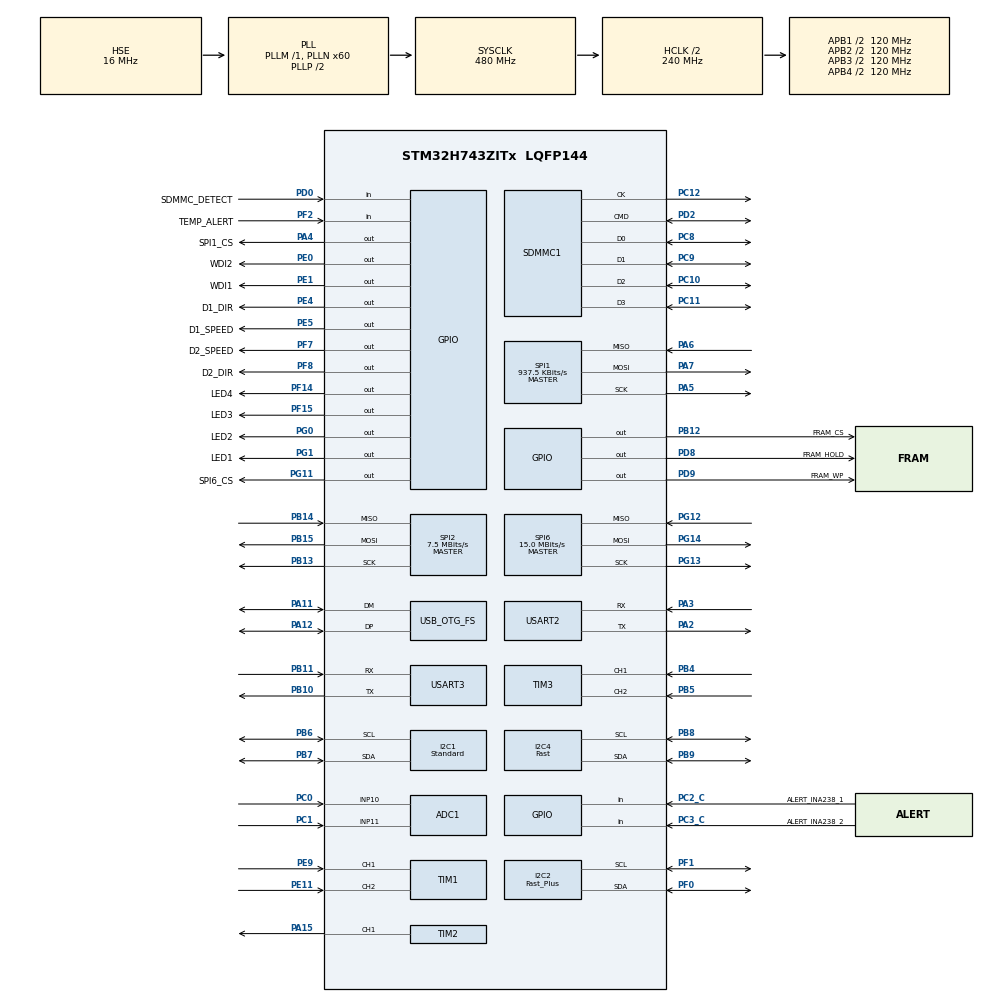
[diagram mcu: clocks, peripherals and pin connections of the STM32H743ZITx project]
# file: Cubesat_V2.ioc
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ADC1.Channel-4\#ChannelRegularConversion=ADC_CHANNEL_10
ADC1.ContinuousConvMode=ENABLE
ADC1.ConversionDataManagement=ADC_CONVERSIONDATA_DMA_CIRCULAR
ADC1.ExternalTrigConv=ADC_EXTERNALTRIG_T1_CC1
ADC1.NbrOfConversion=1
ADC1.NbrOfConversionFlag=1
ADC1.OffsetNumber-4\#ChannelRegularConversion=ADC_OFFSET_NONE
ADC1.OffsetSignedSaturation-4\#ChannelRegularConversion=DISABLE
ADC1.Rank-4\#ChannelRegularConversion=1
ADC1.SamplingTime-4\#ChannelRegularConversion=ADC_SAMPLETIME_32CYCLES_5
ADC1.master=1
CORTEX_M7.CPU_DCache=Disabled
CRC.CRCLength=CRC_POLYLENGTH_8B
CRC.DefaultInitValueUse=DEFAULT_INIT_VALUE_DISABLE
CRC.DefaultPolynomialUse=DEFAULT_POLYNOMIAL_DISABLE
CRC.GeneratingPolynomial=X4+X3+X2+X0
CRC.InitValue=0xC4
Dma.ADC1.1.Direction=DMA_PERIPH_TO_MEMORY
Dma.ADC1.1.EventEnable=DISABLE
Dma.ADC1.1.FIFOMode=DMA_FIFOMODE_DISABLE
Dma.ADC1.1.Instance=DMA1_Stream1
Dma.ADC1.1.MemDataAlignment=DMA_MDATAALIGN_HALFWORD
Dma.ADC1.1.MemInc=DMA_MINC_ENABLE
Dma.ADC1.1.Mode=DMA_CIRCULAR
Dma.ADC1.1.PeriphDataAlignment=DMA_PDATAALIGN_HALFWORD
Dma.ADC1.1.PeriphInc=DMA_PINC_DISABLE
Dma.ADC1.1.Polarity=HAL_DMAMUX_REQ_GEN_RISING
Dma.ADC1.1.Priority=DMA_PRIORITY_LOW
Dma.ADC1.1.RequestNumber=1
Dma.ADC1.1.SignalID=NONE
Dma.ADC1.1.SyncEnable=DISABLE
Dma.ADC1.1.SyncPolarity=HAL_DMAMUX_SYNC_NO_EVENT
Dma.ADC1.1.SyncRequestNumber=1
Dma.ADC1.1.SyncSignalID=NONE
Dma.Request0=TIM2_CH1
Dma.Request1=ADC1
Dma.TIM2_CH1.0.Direction=DMA_MEMORY_TO_PERIPH
Dma.TIM2_CH1.0.EventEnable=DISABLE
Dma.TIM2_CH1.0.FIFOMode=DMA_FIFOMODE_DISABLE
Dma.TIM2_CH1.0.Instance=DMA1_Stream0
Dma.TIM2_CH1.0.MemDataAlignment=DMA_MDATAALIGN_HALFWORD
Dma.TIM2_CH1.0.MemInc=DMA_MINC_ENABLE
Dma.TIM2_CH1.0.Mode=DMA_NORMAL
Dma.TIM2_CH1.0.PeriphDataAlignment=DMA_PDATAALIGN_HALFWORD
Dma.TIM2_CH1.0.PeriphInc=DMA_PINC_DISABLE
Dma.TIM2_CH1.0.Polarity=HAL_DMAMUX_REQ_GEN_RISING
Dma.TIM2_CH1.0.Priority=DMA_PRIORITY_LOW
Dma.TIM2_CH1.0.RequestNumber=1
Dma.TIM2_CH1.0.SignalID=NONE
Dma.TIM2_CH1.0.SyncEnable=DISABLE
Dma.TIM2_CH1.0.SyncPolarity=HAL_DMAMUX_SYNC_NO_EVENT
Dma.TIM2_CH1.0.SyncRequestNumber=1
Dma.TIM2_CH1.0.SyncSignalID=NONE
FATFS.BSP.number=1
FATFS.USE_DMA_CODE_SD=1
FATFS0.BSP.STBoard=false
FATFS0.BSP.api=Unknown
FATFS0.BSP.i2caddr=0
FATFS0.BSP.instance=PD0
FATFS0.BSP.ip=GPIO
FATFS0.BSP.mode=Input
FATFS0.BSP.name=Detect_SDIO
FATFS0.BSP.solution=PD0
I2C1.I2C_Speed_Mode=I2C_Standard
I2C1.Speed=10
I2C1.Timing=0x00000000
I2C2.I2C_Speed_Mode=I2C_Fast_Plus
I2C2.Timing=0x0050174F
I2C4.I2C_Speed_Mode=I2C_Fast
I2C4.Speed=400
I2C4.Timing=0x00B03FDB
Mcu.Family=STM32H7
Mcu.Name=STM32H743ZITx
Mcu.Package=LQFP144
NVIC.DMA1_Stream0_IRQn=true\:0\:0\:false\:false\:true\:false\:true\:true
NVIC.DMA1_Stream1_IRQn=true\:0\:0\:false\:false\:true\:false\:true\:true
NVIC.OTG_FS_IRQn=true\:0\:0\:false\:false\:true\:false\:true\:true
NVIC.PriorityGroup=NVIC_PRIORITYGROUP_4
NVIC.SDMMC1_IRQn=true\:0\:0\:false\:false\:true\:true\:true\:true
NVIC.TIM7_IRQn=true\:0\:0\:false\:false\:true\:true\:true\:true
PA11.Mode=Device_Only
PA11.Signal=USB_OTG_FS_DM
PA12.Mode=Device_Only
PA12.Signal=USB_OTG_FS_DP
PA13\ (JTMS/SWDIO).Mode=Serial_Wire
PA13\ (JTMS/SWDIO).Signal=DEBUG_JTMS-SWDIO
PA14\ (JTCK/SWCLK).Mode=Serial_Wire
PA14\ (JTCK/SWCLK).Signal=DEBUG_JTCK-SWCLK
PA15\ (JTDI).Signal=S_TIM2_CH1_ETR
PA2.Mode=Asynchronous
PA2.Signal=USART2_TX
PA3.Mode=Asynchronous
PA3.Signal=USART2_RX
PA4.GPIO_Label=SPI1_CS
PA4.Signal=GPIO_Output
PA5.Mode=Full_Duplex_Master
PA5.Signal=SPI1_SCK
PA6.Mode=Full_Duplex_Master
PA6.Signal=SPI1_MISO
PA7.Mode=Full_Duplex_Master
PA7.Signal=SPI1_MOSI
PB10.Mode=Asynchronous
PB10.Signal=USART3_TX
PB11.Mode=Asynchronous
PB11.Signal=USART3_RX
PB12.GPIO_Label=FRAM_CS
PB12.Signal=GPIO_Output
PB13.Mode=Full_Duplex_Master
PB13.Signal=SPI2_SCK
PB14.Mode=Full_Duplex_Master
PB14.Signal=SPI2_MISO
PB15.Mode=Full_Duplex_Master
PB15.Signal=SPI2_MOSI
PB4\ (NJTRST).Signal=S_TIM3_CH1
PB5.Signal=S_TIM3_CH2
PB6.Mode=I2C
PB6.Signal=I2C1_SCL
PB7.Mode=I2C
PB7.Signal=I2C1_SDA
PB8.Mode=I2C
PB8.Signal=I2C4_SCL
PB9.Mode=I2C
PB9.Signal=I2C4_SDA
PC0.Signal=ADCx_INP10
PC1.Signal=ADCx_INP11
PC10.Mode=SD_4_bits_Wide_bus
PC10.Signal=SDMMC1_D2
PC11.Mode=SD_4_bits_Wide_bus
PC11.Signal=SDMMC1_D3
PC12.Mode=SD_4_bits_Wide_bus
PC12.Signal=SDMMC1_CK
PC14-OSC32_IN\ (OSC32_IN).Mode=LSE-External-Oscillator
PC14-OSC32_IN\ (OSC32_IN).Signal=RCC_OSC32_IN
PC15-OSC32_OUT\ (OSC32_OUT).Mode=LSE-External-Oscillator
PC15-OSC32_OUT\ (OSC32_OUT).Signal=RCC_OSC32_OUT
PC2_C.GPIO_Label=ALERT_INA238_1
PC2_C.Signal=GPIO_Input
PC3_C.GPIO_Label=ALERT_INA238_2
PC3_C.Signal=GPIO_Input
PC8.Mode=SD_4_bits_Wide_bus
PC8.Signal=SDMMC1_D0
PC9.Mode=SD_4_bits_Wide_bus
PC9.Signal=SDMMC1_D1
PD0.GPIO_Label=SDMMC_DETECT
PD0.GPIO_PuPd=GPIO_PULLDOWN
PD0.Signal=GPIO_Input
PD2.Mode=SD_4_bits_Wide_bus
PD2.Signal=SDMMC1_CMD
PD8.GPIO_Label=FRAM_HOLD
PD8.Signal=GPIO_Output
PD9.GPIO_Label=FRAM_WP
PD9.Signal=GPIO_Output
PE0.GPIO_Label=WDI2
PE0.Signal=GPIO_Output
PE1.GPIO_Label=WDI1
PE1.Signal=GPIO_Output
PE11.Signal=S_TIM1_CH2
PE4.GPIO_Label=D1_DIR
PE4.Signal=GPIO_Output
PE5.GPIO_Label=D1_SPEED
PE5.PinState=GPIO_PIN_SET
PE5.Signal=GPIO_Output
PE9.Signal=S_TIM1_CH1
PF0.Mode=I2C
PF0.Signal=I2C2_SDA
PF1.Mode=I2C
PF1.Signal=I2C2_SCL
PF14.GPIO_Label=LED4
PF14.Signal=GPIO_Output
PF15.GPIO_Label=LED3
PF15.Signal=GPIO_Output
PF2.GPIO_Label=TEMP_ALERT
PF2.Signal=GPIO_Input
PF7.GPIO_Label=D2_SPEED
PF7.PinState=GPIO_PIN_SET
PF7.Signal=GPIO_Output
PF8.GPIO_Label=D2_DIR
PF8.PinState=GPIO_PIN_SET
PF8.Signal=GPIO_Output
PG0.GPIO_Label=LED2
PG0.Signal=GPIO_Output
PG1.GPIO_Label=LED1
PG1.Signal=GPIO_Output
PG11.GPIO_Label=SPI6_CS
PG11.GPIO_ModeDefaultOutputPP=GPIO_MODE_OUTPUT_PP
PG11.GPIO_PuPd=GPIO_NOPULL
PG11.PinState=GPIO_PIN_SET
PG11.Signal=GPIO_Output
PG12.Mode=Full_Duplex_Master
PG12.Signal=SPI6_MISO
PG13.Mode=Full_Duplex_Master
PG13.Signal=SPI6_SCK
PG14.Mode=Full_Duplex_Master
PG14.Signal=SPI6_MOSI
PH0-OSC_IN\ (PH0).Mode=HSE-External-Oscillator
PH0-OSC_IN\ (PH0).Signal=RCC_OSC_IN
PH1-OSC_OUT\ (PH1).Mode=HSE-External-Oscillator
PH1-OSC_OUT\ (PH1).Signal=RCC_OSC_OUT
ProjectManager.HeapSize=0x200
ProjectManager.StackSize=0x400
ProjectManager.TargetToolchain=STM32CubeIDE
RCC.ADCFreq_Value=30000000
RCC.APB1Freq_Value=120000000
RCC.APB2Freq_Value=120000000
RCC.APB3Freq_Value=120000000
RCC.APB4Freq_Value=120000000
RCC.CKPERSourceSelection=RCC_CLKPSOURCE_HSE
RCC.CortexFreq_Value=480000000
RCC.D1PPRE=RCC_APB3_DIV2
RCC.D2PPRE1=RCC_APB1_DIV2
RCC.D2PPRE2=RCC_APB2_DIV2
RCC.D3PPRE=RCC_APB4_DIV2
RCC.DIVM1=1
RCC.DIVM2=16
RCC.DIVM3=4
RCC.DIVN1=60
RCC.DIVN2=150
RCC.DIVN3=60
RCC.DIVP2=5
RCC.DIVQ1=8
RCC.DIVQ3=4
RCC.DIVR1=24
RCC.HCLKFreq_Value=240000000
RCC.HPRE=RCC_HCLK_DIV2
RCC.HSE_VALUE=16000000
RCC.PLLSourceVirtual=RCC_PLLSOURCE_HSE
RCC.RTCClockSelection=RCC_RTCCLKSOURCE_LSE
RCC.SYSCLKFreq_VALUE=480000000
RCC.SYSCLKSource=RCC_SYSCLKSOURCE_PLLCLK
RCC.USBCLockSelection=RCC_USBCLKSOURCE_PLL3
RCC.USBFreq_Value=60000000
RTC.Date=12
RTC.Hours=10
RTC.Minutes=20
RTC.Month=RTC_MONTH_MAY
RTC.Seconds=30
RTC.WeekDay=RTC_WEEKDAY_SUNDAY
RTC.Year=22
SH.ADCx_INP10.0=ADC1_INP10,IN10-Single-Ended
SH.ADCx_INP11.0=ADC1_INP11,IN11-Single-Ended
SH.S_TIM1_CH1.0=TIM1_CH1,Encoder_Interface
SH.S_TIM1_CH2.0=TIM1_CH2,Encoder_Interface
SH.S_TIM2_CH1_ETR.0=TIM2_CH1,PWM Generation1 CH1
SH.S_TIM3_CH1.0=TIM3_CH1,Encoder_Interface
SH.S_TIM3_CH2.0=TIM3_CH2,Encoder_Interface
SPI1.BaudRatePrescaler=SPI_BAUDRATEPRESCALER_128
SPI1.CLKPhase=SPI_PHASE_2EDGE
SPI1.CalculateBaudRate=937.5 KBits/s
SPI1.DataSize=SPI_DATASIZE_8BIT
SPI1.Direction=SPI_DIRECTION_2LINES
SPI1.Mode=SPI_MODE_MASTER
SPI1.VirtualType=VM_MASTER
SPI2.BaudRatePrescaler=SPI_BAUDRATEPRESCALER_16
SPI2.CalculateBaudRate=7.5 MBits/s
SPI2.DataSize=SPI_DATASIZE_8BIT
SPI2.Direction=SPI_DIRECTION_2LINES
SPI2.Mode=SPI_MODE_MASTER
SPI2.VirtualType=VM_MASTER
SPI6.BaudRatePrescaler=SPI_BAUDRATEPRESCALER_8
SPI6.CLKPhase=SPI_PHASE_2EDGE
SPI6.CalculateBaudRate=15.0 MBits/s
SPI6.DataSize=SPI_DATASIZE_8BIT
SPI6.Direction=SPI_DIRECTION_2LINES
SPI6.Mode=SPI_MODE_MASTER
SPI6.VirtualType=VM_MASTER
TIM1.AutoReloadPreload=TIM_AUTORELOAD_PRELOAD_ENABLE
TIM1.EncoderMode=TIM_ENCODERMODE_TI12
TIM1.IC1Filter=10
TIM17.AutoReloadPreload=TIM_AUTORELOAD_PRELOAD_ENABLE
TIM17.Period=40 - 1
TIM17.Prescaler=240 - 1
TIM2.Channel-PWM\ Generation1\ CH1=TIM_CHANNEL_1
TIM2.Period=300 - 1
TIM3.AutoReloadPreload=TIM_AUTORELOAD_PRELOAD_ENABLE
TIM3.EncoderMode=TIM_ENCODERMODE_TI12
TIM3.IC1Filter=10
TIM4.AutoReloadPreload=TIM_AUTORELOAD_PRELOAD_ENABLE
TIM4.Channel-PWM\ Generation1\ No\ Output=TIM_CHANNEL_1
TIM4.Period=1000
TIM4.Prescaler=240 - 1
TIM4.Pulse-PWM\ Generation1\ No\ Output=500
TIM4.TIM_MasterOutputTrigger=TIM_TRGO_UPDATE
TIM6.Prescaler=240-1
TIM7.AutoReloadPreload=TIM_AUTORELOAD_PRELOAD_ENABLE
TIM7.Prescaler=240 - 1
USART2.VirtualMode-Asynchronous=VM_ASYNC
USART3.VirtualMode-Asynchronous=VM_ASYNC
USB_DEVICE.CLASS_NAME_FS=CDC
USB_DEVICE.VirtualMode-CDC_FS=Cdc
USB_DEVICE.VirtualModeFS=Cdc_FS
USB_OTG_FS.VirtualMode=Device_Only
VP_CRC_VS_CRC.Mode=CRC_Activate
VP_FATFS_VS_SDIO.Mode=SDIO
VP_RTC_VS_RTC_Activate.Mode=RTC_Enabled
VP_RTC_VS_RTC_Calendar.Mode=RTC_Calendar
VP_TIM15_VS_ClockSourceINT.Mode=Internal
VP_TIM17_VS_ClockSourceINT.Mode=Enable_Timer
VP_TIM2_VS_ClockSourceINT.Mode=Internal
VP_TIM4_VS_ClockSourceINT.Mode=Internal
VP_TIM4_VS_no_output1.Mode=PWM Generation1 No Output
VP_TIM6_VS_ClockSourceINT.Mode=Enable_Timer
VP_TIM7_VS_ClockSourceINT.Mode=Enable_Timer
VP_USB_DEVICE_VS_USB_DEVICE_CDC_FS.Mode=CDC_FS
board=custom

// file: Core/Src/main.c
/* USER CODE BEGIN Header */
/**
 ******************************************************************************
 * @file           : main.c
 * @brief          : Main program body
 ******************************************************************************
 * @attention
 *
 * Copyright (c) 2022 STMicroelectronics.
 * All rights reserved.
 *
 * This software is licensed under terms that can be found in the LICENSE file
 * in the root directory of this software component.
 * If no LICENSE file comes with this software, it is provided AS-IS.
 *
 ******************************************************************************
 */
/* USER CODE END Header */
#include "main.h"
#include "adc.h"
#include "crc.h"
#include "dma.h"
#include "fatfs.h"
#include "i2c.h"
#include "rtc.h"
#include "sdmmc.h"
#include "spi.h"
#include "tim.h"
#include "usart.h"
#include "usb_device.h"
#include "gpio.h"

/* USER CODE BEGIN Includes */
#include <string.h>
#include <math.h>
#include <Library/Logging.h>
#include <Library/FRAM.h>
#include <Library/TMP75.h>
#include <Library/INA238.h>
#include <Library/AS5047U.h>
#include <Library/Neopixel.h>
#include <Library/KalmanFilter.h>
#include <Library/EDAC.h>
#include <Library/Utils.h>
#include <Library/DRV10975.h>
#include <usbd_cdc_if.h>
/* USER CODE END Includes */

/* USER CODE BEGIN PD */
#define KALMAN_Q 5000
#define KALMAN_R 0.1
/* USER CODE END PD */

/* USER CODE BEGIN PV */
NeopixelParameter Neopixel;
AS5047U Encoder;
INA238 Current_Sensor_System;
INA238 Current_Sensor_Motor;
FRAM Fram;
DRV10975 Sin_Driver;

KalmanFilter KF_Motor;

float LDO_temp = 0.0;
int64_t filtered_motor_pos = 0;
int64_t filtered_motor_speed = 0;

uint16_t adc_in[2] = { 0 };
uint16_t adc_in2[2] = { 0 };

uint8_t d1_voltage = 0;
uint8_t fram_status = 0;
uint8_t d1_dir = 1;
uint8_t test_in[9] = { 0 };
int32_t sin_speed = 511;

uint64_t _micro = 0;
uint8_t final_ans[8] = { 0 };
uint8_t speed_change_trigger = 0;
RTC_TimeTypeDef gTime;

float SpeedBuffer1Sent[3000] = {0};
float SpeedBuffer2Sent[3000] = {0};
uint16_t Count2Sent = 0;
uint16_t CountStart = 0;

double motor_pos = 0;

/* USER CODE END PV */

void SystemClock_Config(void);
/* USER CODE BEGIN PFP */
#ifdef __GNUC__
/* With GCC, small printf (option LD Linker->Libraries->Small printf
 set to 'Yes') calls __io_putchar() */
#define PUTCHAR_PROTOTYPE int __io_putchar(int ch)
#else
#define PUTCHAR_PROTOTYPE int fputc(int ch, FILE *f)
#endif /* __GNUC__ */
/* USER CODE END PFP */

/* USER CODE BEGIN 0 */
void Watchog_Timer_Trigger();
void Read_Power_Monitoring_Data();
void Read_Encoder();
void Control_Loop();
void Device_Init();
void Store_Config();
void Read_Config();
void Read_Driver_Param();
void Test_Fram();
void get_time();
/* USER CODE END 0 */

int main(void)
{

  /* MCU Configuration--------------------------------------------------------*/

  /* Reset of all peripherals, Initializes the Flash interface and the Systick. */
  HAL_Init();

  /* Configure the system clock */
  SystemClock_Config();

  /* Initialize all configured peripherals */
  MX_GPIO_Init();
  MX_SDMMC1_SD_Init();
  MX_FATFS_Init();
  MX_DMA_Init();
  MX_TIM2_Init();
  MX_USART3_UART_Init();
  MX_SPI2_Init();
  MX_I2C1_Init();
  MX_I2C4_Init();
  MX_SPI1_Init();
  MX_SPI6_Init();
  MX_TIM1_Init();
  MX_TIM3_Init();
  MX_TIM15_Init();
  MX_TIM17_Init();
  MX_USART2_UART_Init();
  MX_CRC_Init();
  MX_TIM6_Init();
  MX_RTC_Init();
  MX_I2C2_Init();
  MX_TIM4_Init();
  MX_ADC1_Init();
  MX_USB_DEVICE_Init();
  MX_TIM7_Init();
  /* USER CODE BEGIN 2 */
	HAL_TIM_Base_Start_IT(&htim7);
	Watchog_Timer_Trigger();
	Device_Init();
	DRV10975_I2C_Set_Speed(&Sin_Driver, 0, 1);
	Test_Fram();
	while(1);
	uwTick = 0;
	uint32_t timestamp_1 = HAL_GetTick();
	uint32_t timestamp_2 = HAL_GetTick();
	uint32_t timestamp_3 = HAL_GetTick();
	uint32_t timestamp_4 = HAL_GetTick();
	uint8_t debug_msg[100] = "";
  /* USER CODE END 2 */

  /* Infinite loop */
  /* USER CODE BEGIN WHILE */
	while (1) {
		Read_Encoder();
		if (HAL_GetTick() - timestamp_1 >= 10) {
			timestamp_1 = HAL_GetTick();
			Read_Driver_Param();
			CountStart++;
			if (CountStart >= 500) {
				if (Count2Sent < 3000) {
					if (Count2Sent == 0) {
						DRV10975_I2C_Set_Speed(&Sin_Driver, sin_speed, d1_dir);
					}
					else if (Count2Sent == 1500){
						DRV10975_I2C_Set_Speed(&Sin_Driver, sin_speed, 0);
					}
					SpeedBuffer1Sent[Count2Sent] =
							(float) Sin_Driver.motor_speed;
					SpeedBuffer2Sent[Count2Sent] = (float) (4 * KF_Motor.x2
							/ (6.28318530718));
					Count2Sent++;
				} else {
					if (Count2Sent == 3000) {
						DRV10975_I2C_Set_Speed(&Sin_Driver, 0, d1_dir);
						for (int i = 0; i < 3000; i++) {
							printf("%f %f \n", SpeedBuffer1Sent[i],
									SpeedBuffer2Sent[i]);
						}
					}
					Count2Sent = 0;
					CountStart = 0;
				}
				if (speed_change_trigger) {
					DRV10975_I2C_Set_Speed(&Sin_Driver, sin_speed, d1_dir);
				}
			}
		}
		if (HAL_GetTick() - timestamp_2 >= 100) {
			timestamp_2 = HAL_GetTick();
			Read_Power_Monitoring_Data();
		}
		if (HAL_GetTick() - timestamp_3 >= 1) {
			timestamp_3 = HAL_GetTick();
			Control_Loop();
		}
		if (HAL_GetTick() - timestamp_4 >= 10000) {
			timestamp_4 = HAL_GetTick();
			sprintf((char *)debug_msg, "ldo temp is : %f", LDO_temp);
			SD_Card_Write_Log(LOG_DEBUG, debug_msg, strlen((char *) debug_msg));
			sprintf((char *)debug_msg, "power consumption of system : %f", Current_Sensor_System.power);
			SD_Card_Write_Log(LOG_DEBUG, debug_msg, strlen((char *) debug_msg));
			sprintf((char *)debug_msg, "power consumption of motor and driver : %f", Current_Sensor_Motor.power);
			SD_Card_Write_Log(LOG_DEBUG, debug_msg, strlen((char *) debug_msg));
		}
		HAL_RTC_GetTime(&hrtc, &gTime, RTC_FORMAT_BIN);
		Watchog_Timer_Trigger();

//	  SD_Card_Write_Log();
    /* USER CODE END WHILE */

	}
}

void SystemClock_Config(void)
{
  RCC_OscInitTypeDef RCC_OscInitStruct = {0};
  RCC_ClkInitTypeDef RCC_ClkInitStruct = {0};

  /** Supply configuration update enable
  */
  HAL_PWREx_ConfigSupply(PWR_LDO_SUPPLY);

  /** Configure the main internal regulator output voltage
  */
  __HAL_PWR_VOLTAGESCALING_CONFIG(PWR_REGULATOR_VOLTAGE_SCALE0);

  while(!__HAL_PWR_GET_FLAG(PWR_FLAG_VOSRDY)) {}

  /** Configure LSE Drive Capability
  */
  HAL_PWR_EnableBkUpAccess();
  __HAL_RCC_LSEDRIVE_CONFIG(RCC_LSEDRIVE_LOW);

  /** Macro to configure the PLL clock source
  */
  __HAL_RCC_PLL_PLLSOURCE_CONFIG(RCC_PLLSOURCE_HSE);

  /** Initializes the RCC Oscillators according to the specified parameters
  * in the RCC_OscInitTypeDef structure.
  */
  RCC_OscInitStruct.OscillatorType = RCC_OSCILLATORTYPE_HSE|RCC_OSCILLATORTYPE_LSE;
  RCC_OscInitStruct.HSEState = RCC_HSE_ON;
  RCC_OscInitStruct.LSEState = RCC_LSE_ON;
  RCC_OscInitStruct.PLL.PLLState = RCC_PLL_ON;
  RCC_OscInitStruct.PLL.PLLSource = RCC_PLLSOURCE_HSE;
  RCC_OscInitStruct.PLL.PLLM = 1;
  RCC_OscInitStruct.PLL.PLLN = 60;
  RCC_OscInitStruct.PLL.PLLP = 2;
  RCC_OscInitStruct.PLL.PLLQ = 8;
  RCC_OscInitStruct.PLL.PLLR = 24;
  RCC_OscInitStruct.PLL.PLLRGE = RCC_PLL1VCIRANGE_3;
  RCC_OscInitStruct.PLL.PLLVCOSEL = RCC_PLL1VCOWIDE;
  RCC_OscInitStruct.PLL.PLLFRACN = 0;
  if (HAL_RCC_OscConfig(&RCC_OscInitStruct) != HAL_OK)
  {
    Error_Handler();
  }

  /** Initializes the CPU, AHB and APB buses clocks
  */
  RCC_ClkInitStruct.ClockType = RCC_CLOCKTYPE_HCLK|RCC_CLOCKTYPE_SYSCLK
                              |RCC_CLOCKTYPE_PCLK1|RCC_CLOCKTYPE_PCLK2
                              |RCC_CLOCKTYPE_D3PCLK1|RCC_CLOCKTYPE_D1PCLK1;
  RCC_ClkInitStruct.SYSCLKSource = RCC_SYSCLKSOURCE_PLLCLK;
  RCC_ClkInitStruct.SYSCLKDivider = RCC_SYSCLK_DIV1;
  RCC_ClkInitStruct.AHBCLKDivider = RCC_HCLK_DIV2;
  RCC_ClkInitStruct.APB3CLKDivider = RCC_APB3_DIV2;
  RCC_ClkInitStruct.APB1CLKDivider = RCC_APB1_DIV2;
  RCC_ClkInitStruct.APB2CLKDivider = RCC_APB2_DIV2;
  RCC_ClkInitStruct.APB4CLKDivider = RCC_APB4_DIV2;

  if (HAL_RCC_ClockConfig(&RCC_ClkInitStruct, FLASH_LATENCY_4) != HAL_OK)
  {
    Error_Handler();
  }
}

/* USER CODE BEGIN 4 */

void Read_Power_Monitoring_Data() {
	TMP75_Read_TempCelsius(&LDO_temp);
	INA238_read_all(&Current_Sensor_Motor);
	INA238_read_all(&Current_Sensor_System);
}

void Read_Encoder() {
	AS5047U_Position_Highspeed_Read(&Encoder, 0);
}

void Read_Driver_Param() {
	DRV10975_Read_Voltage(&Sin_Driver);
	DRV10975_Read_Kt(&Sin_Driver);
	DRV10975_Read_Period(&Sin_Driver);
	DRV10975_Read_Speed(&Sin_Driver);
	DRV10975_Read_Current(&Sin_Driver);
}

void Control_Loop() {
	static uint16_t enc_pos = 0;
	static uint16_t prev_enc_pos = 0;

	enc_pos = Encoder.Position;
	motor_pos += (Unwrap(enc_pos, prev_enc_pos) * (2 * M_PI / 16384.0)); //0.087890625 = (360 / 4096)
	prev_enc_pos = enc_pos;
	KalmanFilter_Update(&KF_Motor, motor_pos);
	filtered_motor_pos = KF_Motor.x1;
	filtered_motor_speed = KF_Motor.x2;
}

void Device_Init() {
	HAL_GPIO_WritePin(LED1_GPIO_Port, LED1_Pin, 1); // indicate that mcu still alive :>

	uint8_t initialize_msg[25] = "MCU still alive :>";
	SD_Card_Write_Log(LOG_INFO, initialize_msg, strlen((char *) initialize_msg));

	KalmanFilter_Init(&KF_Motor, 0, 0, 1, 0, 0, 1, KALMAN_R, KALMAN_Q, 0.001);

	HAL_GPIO_WritePin(FRAM_WP_GPIO_Port, FRAM_WP_Pin, GPIO_PIN_RESET);
	HAL_GPIO_WritePin(FRAM_HOLD_GPIO_Port, FRAM_HOLD_Pin, GPIO_PIN_SET);
	FRAM_Initialise(&Fram, &hspi2, FRAM_CS_GPIO_Port, FRAM_CS_Pin);
	AS5047U_init(&Encoder, &hspi1, SPI1_CS_GPIO_Port, &hcrc, SPI1_CS_Pin, 0);

	DRV10975_Init(&Sin_Driver, &hi2c2, &htim17, TIM_CHANNEL_1, D1_DIR_GPIO_Port,
	D1_DIR_Pin);
	DRV10975_Config(&Sin_Driver);
	//Motor Driver Current Sensor
	INA238_init(&Current_Sensor_Motor, &hi2c4, 0x80);
	INA238_reset(&Current_Sensor_Motor);
	INA238_set_mode(&Current_Sensor_Motor, 0x0F);
	INA238_calibrate(&Current_Sensor_Motor, 0, 0.05);

	//System Current Sensor
	INA238_init(&Current_Sensor_System, &hi2c4, 0x88);
	INA238_reset(&Current_Sensor_System);
	INA238_set_mode(&Current_Sensor_System, 0x0F);
	INA238_calibrate(&Current_Sensor_System, 1, 0.1);

	Neopixel_Init(&Neopixel, &htim2);
}

void Watchog_Timer_Trigger() {
	// External WD Trigger
	HAL_GPIO_TogglePin(WDI1_GPIO_Port, WDI1_Pin);
	HAL_GPIO_TogglePin(WDI2_GPIO_Port, WDI2_Pin);
	// Internal WD
//	HAL_IWDG_Refresh(&hiwdg1);
}

void Test_Fram() {
	float read_first_data = 0;
	uint32_t read_second_data = 0;
	uint8_t test[8] = {0x42,0xf6,0xe6,0x66,0x00,0x00,0x1a,0x85};
	uint8_t before_flip[9] = {0};
//	uint8_t after_flip[9] = { 0 };
	hamming7264_encode(test, before_flip);

//	// declare data
	float write_first_data = 123.45;
	uint32_t write_second_data = 6789;

	printf("This is the data that we want to store. %f, %u\n", write_first_data,
			(unsigned int) write_second_data);

	//encode data and write to fram
	FRAM_Encode_Write_Block(&Fram, 0, (uint32_t*) &write_first_data,
			&write_second_data);

//	uint8_t read_data = 0;
//	FRAM_Seq_Read(&Fram, 0, before_flip, 9);

	printf("This is the data after we encode.            0x");
	for (int i = 0; i < 9; i++) {
		printf("%x", before_flip[i]);
	}
	printf("\n");
	// read -> flip 1 bit of data -> write
//	FRAM_Read(&Fram, 2, &read_data);
//	read_data ^= 0x08;
//	FRAM_Write(&Fram, 2, &read_data);
//	FRAM_Seq_Read(&Fram, 0, after_flip, 9);
	before_flip[2] ^= 0x08;
	printf("This is the encode data after we flip 1 bit. 0x");
	for (int i = 0; i < 9; i++) {
		printf("%x", before_flip[i]);
	}
	printf("\n");
	//read -> decode
	FRAM_Encode_Read_Block(&Fram, 0, 0, (uint32_t*) &read_first_data);
	FRAM_Encode_Read_Block(&Fram, 0, 1, &read_second_data);
	printf("This is the data after we decode. %f, %u\n", write_first_data,
			(unsigned int) write_second_data);

//	uint8_t base_data[8] = { 1, 2, 3, 4, 5, 6, 7, 8 };
//	uint8_t base_data_plus[9] = { 0 };
//
//	HAL_GPIO_WritePin(SPI6_CS_GPIO_Port, SPI6_CS_Pin, 0);
//	hamming7264_encode(base_data, base_data_plus);
//	HAL_GPIO_WritePin(SPI6_CS_GPIO_Port, SPI6_CS_Pin, 1);
//	HAL_Delay(1);
//	final_ans[1] = (final_ans[1] ^ 0x40);
//	HAL_GPIO_WritePin(SPI6_CS_GPIO_Port, SPI6_CS_Pin, 0);
//	hamming7264_decode(base_data_plus, final_ans);
//	HAL_GPIO_WritePin(SPI6_CS_GPIO_Port, SPI6_CS_Pin, 1);
//	HAL_Delay(1);
//	HAL_GPIO_WritePin(SPI6_CS_GPIO_Port, SPI6_CS_Pin, 0);
//	FRAM_Encode_Write(&Fram, 1, base_data);
//	HAL_GPIO_WritePin(SPI6_CS_GPIO_Port, SPI6_CS_Pin, 1);
//	HAL_Delay(1);
//	uint8_t data_buffff = 0;
//	FRAM_Read(&Fram, 2, &data_buffff);
//	data_buffff = data_buffff ^ 0x80;
//	FRAM_Write(&Fram, 2, &data_buffff);
//	HAL_Delay(1);
//	HAL_GPIO_WritePin(SPI6_CS_GPIO_Port, SPI6_CS_Pin, 0);
//	FRAM_Decode_Read(&Fram, 1, final_ans);
//	HAL_GPIO_WritePin(SPI6_CS_GPIO_Port, SPI6_CS_Pin, 1);
//	printf("test");
//	for (int i = 0; i < 8; i++) {
//		printf("%d", final_ans[i]);
//	}

//	// fame's check method
//	printf("start\n");
//	uint8_t famefame_dataword[8] = {3,2,3,2,4,1,2,3};
//	uint8_t famefame_codeword[9] = {0};
//	uint8_t imposter[9] = {0};
//	hamming7264_encode(famefame_dataword, famefame_codeword);
//	memcpy(imposter, famefame_codeword, 9);
//	famefame_codeword[2] ^= 0x01;
//	for (int i = 0; i < 910; i++){
//		FRAM_Seq_Write(&Fram, (i*9), famefame_codeword, 9);
//	}
//
//	uint8_t fuckfuck[8190] = {0};
//	uint8_t *addres_boy = fuckfuck;
//	uint8_t final_ans[8] = {0};
//	HAL_GPIO_WritePin(LED3_GPIO_Port, LED3_Pin, 1);
//	HAL_GPIO_WritePin(SPI6_CS_GPIO_Port, SPI6_CS_Pin, 0);
////	for (int i = 0; i < 910; i++){
////		FRAM_Decode_Read(&Fram, (i*9), final_ans);
////	}
//	FRAM_Seq_Read(&Fram, 0, fuckfuck, 8190);
//	uint8_t result_fck = 0;
//	for (int i = 0; i < 910; i++){
//		result_fck = hamming7264_decode(addres_boy, final_ans);
//		addres_boy += 9;
//		if (result_fck == 1){
//			hamming7264_encode(final_ans, addres_boy);
//		}
//	}
//	FRAM_Seq_Write(&Fram, 0, fuckfuck, 8190);
//	HAL_GPIO_WritePin(SPI6_CS_GPIO_Port, SPI6_CS_Pin, 1);
//	printf("final ans = ");
//	for(int i = 0; i <8;i++){
//		printf("%d", final_ans[i]);
//	}
//	printf("\n");

//	Check All Memory

//	printf("\n\n\n");
//	#define block_count 20
//	float write_first_data_B = 123.45345;
//	uint32_t write_second_data_B = 64891;
//	HAL_Delay(5);
//	for (uint16_t i = 0; i < block_count; i++) {
//		FRAM_Encode_Write_Block(&Fram, i, (uint32_t*) &write_first_data_B,
//				&write_second_data_B);
//	}
//
//	uint8_t before_flip_20_block[9 * block_count] = { 0 };
//	uint8_t after_flip_20_block[9 * block_count] = { 0 };
//	uint8_t before_Scrubbing_20_block[9 * block_count] = { 0 };
//	uint8_t after_Scrubbing_20_block[9 * block_count] = { 0 };
//
//	HAL_GPIO_WritePin(SPI6_CS_GPIO_Port, SPI6_CS_Pin, 0);
//	FRAM_Seq_Read(&Fram, 0, before_flip_20_block, 9 * block_count);
//	HAL_GPIO_WritePin(SPI6_CS_GPIO_Port, SPI6_CS_Pin, 1);
//	HAL_Delay(1);
//
//	memcpy(after_flip_20_block, before_flip_20_block, 9 * block_count);
//	for (uint16_t i = 0; i < block_count; i++) {
//		after_flip_20_block[(i * 9) + (TIM7->CNT % 8)] ^= (TIM7->CNT % 255);
//		HAL_Delay(2);
//	}
//
//	HAL_GPIO_WritePin(SPI6_CS_GPIO_Port, SPI6_CS_Pin, 0);
//	FRAM_Seq_Write(&Fram, 0, after_flip_20_block, 9 * block_count);
//	HAL_GPIO_WritePin(SPI6_CS_GPIO_Port, SPI6_CS_Pin, 1);
//	HAL_Delay(1);
//
//	FRAM_Seq_Read(&Fram, 0, before_Scrubbing_20_block, 9 * block_count);
//
//	HAL_GPIO_WritePin(SPI6_CS_GPIO_Port, SPI6_CS_Pin, 0);
//	FRAM_Scrubbing(&Fram, block_count);
//	HAL_GPIO_WritePin(SPI6_CS_GPIO_Port, SPI6_CS_Pin, 1);
//	HAL_Delay(1);
//
//	FRAM_Seq_Read(&Fram, 0, after_Scrubbing_20_block, 9 * block_count);
//
//	for (uint16_t i = 0; i < (9 * block_count); i++) {
//		if (before_flip_20_block[i] == after_Scrubbing_20_block[i]) {
//			if (before_flip_20_block[i] != after_flip_20_block[i]) {
//				printf("0x%x\t0x%x\t0x%x\t0x%x  <--- Flip \n",
//						before_flip_20_block[i], after_Scrubbing_20_block[i],
//						before_Scrubbing_20_block[i], after_flip_20_block[i]);
//			} else {
//				printf("0x%x\t0x%x\t0x%x\t0x%x \n", before_flip_20_block[i],
//						after_Scrubbing_20_block[i],
//						before_Scrubbing_20_block[i], after_flip_20_block[i]);
//
//			}
//		} else {
//			printf("0x%x\t0x%x\t0x%x\t0x%x ---->Fail!!<---- \n",
//					before_flip_20_block[i], after_Scrubbing_20_block[i],
//					before_Scrubbing_20_block[i], after_flip_20_block[i]);
//		}
//		if (i % 9 == 8) {
//			printf("%d ----------------------------------\n", i);
//		}
//	}
}

PUTCHAR_PROTOTYPE {
	/* Place your implementation of fputc here */
	/* e.g. write a character to the EVAL_COM1 and Loop until the end of transmission */
	HAL_UART_Transmit(&huart3, (uint8_t*) &ch, 1, 1);

	return ch;
}

void HAL_TIM_PeriodElapsedCallback(TIM_HandleTypeDef *htim) {
	if (htim == &htim7) {
		_micro += 65535;
	}
}

uint64_t micro(){
	return _micro + TIM7->CNT;
}
/* USER CODE END 4 */

void Error_Handler(void)
{
	__disable_irq();
	while (1) {
	}
}
